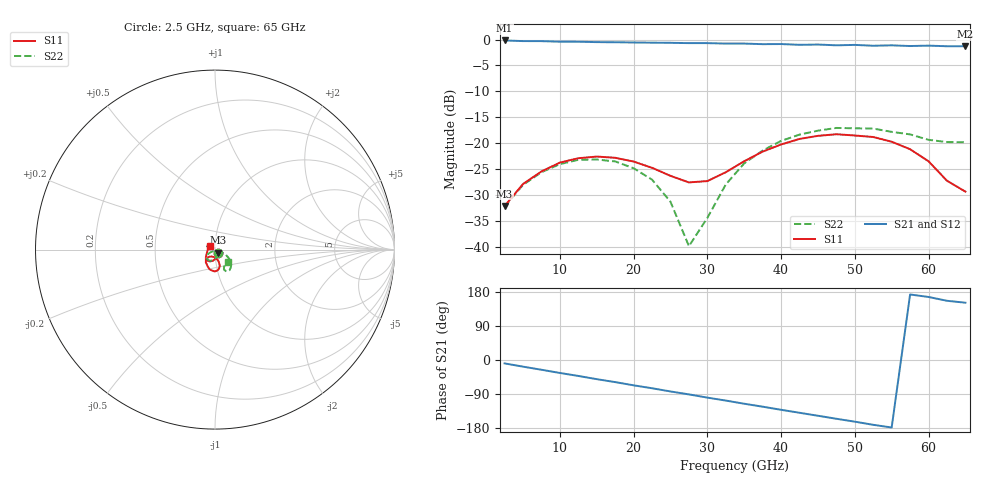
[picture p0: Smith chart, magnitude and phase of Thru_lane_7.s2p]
! File created by SignalIntegrity v1.5.1: Signal and Power Integrity Tools
! https://github.com/Nubis-Communications/SignalIntegrity
# MHz S MA R 50.0
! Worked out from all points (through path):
!   26 points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, 2.5 GHz to 65 GHz, reference 50 ohm
!   highest |S21| = -0.18 dB at 2.5 GHz (marker M1); lowest = -1.3 dB at 65 GHz (marker M2)
!   group delay of S21, straight-line fit = 8.92 ps
!   lowest |S11| = -32.1 dB at 2.5 GHz (marker M3), VSWR 1.05, Z = 51.8 - j1.79 ohm
!   |S11| at or under -10 dB: start of sweep to end of sweep
!   |S22| runs from -39.9 to -17.1 dB; largest |S21 - S12| = 0.02
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2500  0.02474 -44.2  0.9797 -9.0  0.9774 -9.0  0.02441 -45.2
5000  0.04034 -72.4  0.966 -17.5  0.9684 -17.5  0.03953 -72.6
7500  0.05331 -90.2  0.965 -25.8  0.9627 -25.9  0.05239 -91.3
10000  0.06488 -102.4  0.953 -34.2  0.955 -34.1  0.06267 -103.9
12500  0.07152 -113.0  0.9524 -42.1  0.9505 -42.2  0.06903 -116.0
15000  0.07417 -120.7  0.9443 -50.6  0.945 -50.4  0.06948 -125.1
17500  0.07222 -127.7  0.9414 -58.3  0.9404 -58.5  0.06656 -134.4
20000  0.06637 -131.3  0.9366 -66.8  0.9369 -66.7  0.05722 -142.0
22500  0.05778 -132.5  0.9329 -74.6  0.9329 -74.7  0.04438 -148.1
25000  0.04834 -126.3  0.9294 -83.1  0.9287 -82.9  0.02716 -149.7
27500  0.04176 -114.0  0.9233 -90.8  0.9248 -91.0  0.01012 -126.7
30000  0.04302 -92.0  0.9231 -99.3  0.9212 -99.1  0.01898 -26.0
32500  0.05238 -80.3  0.914 -107.0  0.9161 -107.2  0.0399 -22.4
35000  0.06688 -72.9  0.9143 -115.4  0.9115 -115.3  0.06383 -24.2
40000  0.09707 -74.0  0.9046 -131.4  0.9012 -131.3  0.1051 -35.3
45000  0.1176 -83.8  0.8947 -147.1  0.8905 -147.1  0.1319 -47.7
50000  0.1185 -96.6  0.8876 -162.7  0.882 -162.8  0.1391 -58.4
55000  0.1032 -112.9  0.8791 -178.1  0.8765 -178.6  0.1285 -64.4
57500  0.08735 -125.6  0.8655 172.9  0.8703 173.5  0.1215 -65.8
60000  0.06682 -139.9  0.8732 166.3  0.872 165.7  0.1076 -62.0
62500  0.04334 -169.9  0.8614 156.2  0.8649 157.4  0.1024 -55.5
65000  0.03404 145.2  0.8602 151.2  0.8614 149.9  0.1021 -43.2
